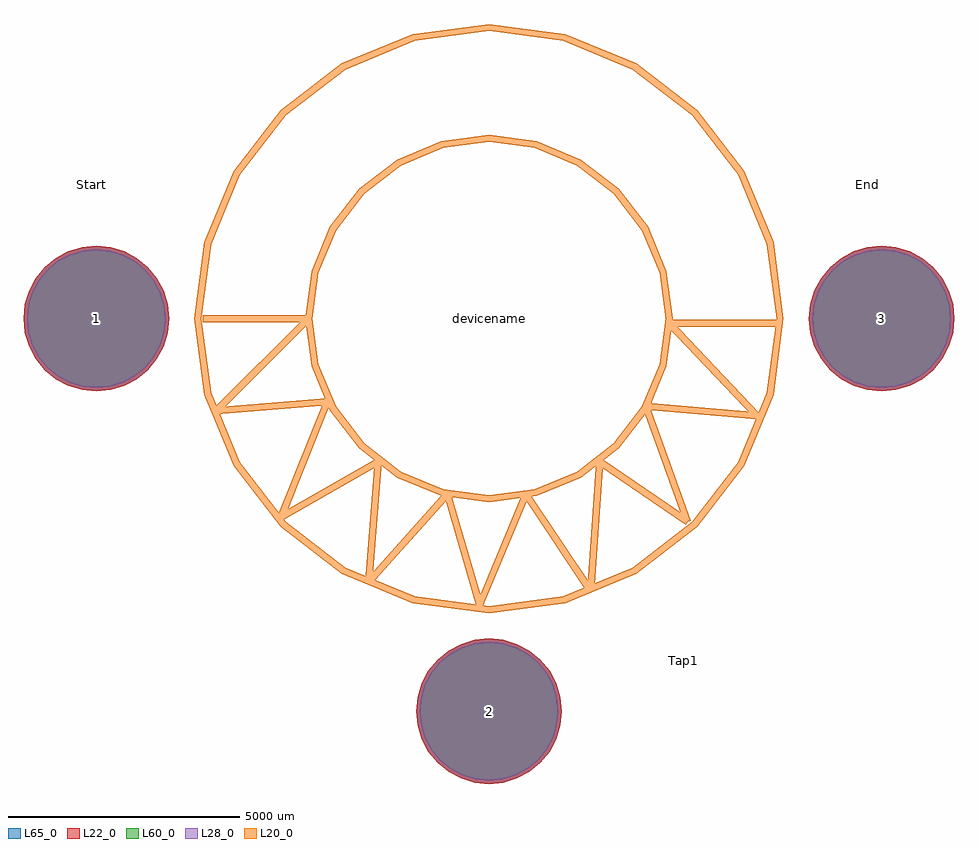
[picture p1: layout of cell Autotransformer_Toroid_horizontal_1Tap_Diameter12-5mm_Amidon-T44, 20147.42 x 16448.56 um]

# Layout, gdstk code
import gdstk
lib = gdstk.Library(unit=1e-6, precision=1e-09)
def P(c, l, *ps):  # polygons
    for p in ps: c.add(gdstk.Polygon(p, *l))
L20_0 = (20, 0)
L22_0 = (22, 0)
L28_0 = (28, 0)
L60_0 = (60, 0)
L65_0 = (65, 0)

autotransformer_toroid_h = lib.new_cell('Autotransformer_Toroid_horizontal_1Tap_Diameter12-5mm_Amidon-T44')
P(autotransformer_toroid_h, L22_0, [(1574.87,-8498.84),(1544.609,-8191.598),(1454.99,-7896.163),(1309.457,-7623.889),(1113.601,-7385.239),(874.951,-7189.383),(602.677,-7043.85),(307.242,-6954.231),(0,-6923.97),(-307.242,-6954.231),(-602.677,-7043.85),(-874.951,-7189.383),(-1113.601,-7385.239),(-1309.457,-7623.889),(-1454.99,-7896.163),(-1544.609,-8191.598),(-1574.87,-8498.84),(-1544.609,-8806.082),(-1454.99,-9101.517),(-1309.457,-9373.791),(-1113.601,-9612.441),(-874.951,-9808.297),(-602.677,-9953.83),(-307.242,-10043.449),(0,-10073.71),(307.242,-10043.449),(602.677,-9953.83),(874.951,-9808.297),(1113.601,-9612.441),(1309.457,-9373.791),(1454.99,-9101.517),(1544.609,-8806.082)],
  [(10073.71,0),(10043.449,307.242),(9953.83,602.677),(9808.297,874.951),(9612.441,1113.601),(9373.791,1309.457),(9101.517,1454.99),(8806.082,1544.609),(8498.84,1574.87),(8191.598,1544.609),(7896.163,1454.99),(7623.889,1309.457),(7385.239,1113.601),(7189.383,874.951),(7043.85,602.677),(6954.231,307.242),(6923.97,0),(6954.231,-307.242),(7043.85,-602.677),(7189.383,-874.951),(7385.239,-1113.601),(7623.889,-1309.457),(7896.163,-1454.99),(8191.598,-1544.609),(8498.84,-1574.87),(8806.082,-1544.609),(9101.517,-1454.99),(9373.791,-1309.457),(9612.441,-1113.601),(9808.297,-874.951),(9953.83,-602.677),(10043.449,-307.242)],
  [(-6923.97,0),(-6954.231,307.242),(-7043.85,602.677),(-7189.383,874.951),(-7385.239,1113.601),(-7623.889,1309.457),(-7896.163,1454.99),(-8191.598,1544.609),(-8498.84,1574.87),(-8806.082,1544.609),(-9101.517,1454.99),(-9373.791,1309.457),(-9612.441,1113.601),(-9808.297,874.951),(-9953.83,602.677),(-10043.449,307.242),(-10073.71,0),(-10043.449,-307.242),(-9953.83,-602.677),(-9808.297,-874.951),(-9612.441,-1113.601),(-9373.791,-1309.457),(-9101.517,-1454.99),(-8806.082,-1544.609),(-8498.84,-1574.87),(-8191.598,-1544.609),(-7896.163,-1454.99),(-7623.889,-1309.457),(-7385.239,-1113.601),(-7189.383,-874.951),(-7043.85,-602.677),(-6954.231,-307.242)])
P(autotransformer_toroid_h, L28_0, [(1499.87,-8498.84),(1471.05,-8206.23),(1385.699,-7924.865),(1247.096,-7665.557),(1060.568,-7438.272),(833.283,-7251.744),(573.975,-7113.141),(292.61,-7027.79),(0,-6998.97),(-292.61,-7027.79),(-573.975,-7113.141),(-833.283,-7251.744),(-1060.568,-7438.272),(-1247.096,-7665.557),(-1385.699,-7924.865),(-1471.05,-8206.23),(-1499.87,-8498.84),(-1471.05,-8791.45),(-1385.699,-9072.815),(-1247.096,-9332.123),(-1060.568,-9559.408),(-833.283,-9745.936),(-573.975,-9884.539),(-292.61,-9969.89),(0,-9998.71),(292.61,-9969.89),(573.975,-9884.539),(833.283,-9745.936),(1060.568,-9559.408),(1247.096,-9332.123),(1385.699,-9072.815),(1471.05,-8791.45)],
  [(9998.71,0),(9969.89,292.61),(9884.539,573.975),(9745.936,833.283),(9559.408,1060.568),(9332.123,1247.096),(9072.815,1385.699),(8791.45,1471.05),(8498.84,1499.87),(8206.23,1471.05),(7924.865,1385.699),(7665.557,1247.096),(7438.272,1060.568),(7251.744,833.283),(7113.141,573.975),(7027.79,292.61),(6998.97,0),(7027.79,-292.61),(7113.141,-573.975),(7251.744,-833.283),(7438.272,-1060.568),(7665.557,-1247.096),(7924.865,-1385.699),(8206.23,-1471.05),(8498.84,-1499.87),(8791.45,-1471.05),(9072.815,-1385.699),(9332.123,-1247.096),(9559.408,-1060.568),(9745.936,-833.283),(9884.539,-573.975),(9969.89,-292.61)],
  [(-6998.97,0),(-7027.79,292.61),(-7113.141,573.975),(-7251.744,833.283),(-7438.272,1060.568),(-7665.557,1247.096),(-7924.865,1385.699),(-8206.23,1471.05),(-8498.84,1499.87),(-8791.45,1471.05),(-9072.815,1385.699),(-9332.123,1247.096),(-9559.408,1060.568),(-9745.936,833.283),(-9884.539,573.975),(-9969.89,292.61),(-9998.71,0),(-9969.89,-292.61),(-9884.539,-573.975),(-9745.936,-833.283),(-9559.408,-1060.568),(-9332.123,-1247.096),(-9072.815,-1385.699),(-8791.45,-1471.05),(-8498.84,-1499.87),(-8206.23,-1471.05),(-7924.865,-1385.699),(-7665.557,-1247.096),(-7438.272,-1060.568),(-7251.744,-833.283),(-7113.141,-573.975),(-7027.79,-292.61)])
P(autotransformer_toroid_h, L60_0, [(1499.87,-8498.84),(1471.05,-8206.23),(1385.699,-7924.865),(1247.096,-7665.557),(1060.568,-7438.272),(833.283,-7251.744),(573.975,-7113.141),(292.61,-7027.79),(0,-6998.97),(-292.61,-7027.79),(-573.975,-7113.141),(-833.283,-7251.744),(-1060.568,-7438.272),(-1247.096,-7665.557),(-1385.699,-7924.865),(-1471.05,-8206.23),(-1499.87,-8498.84),(-1471.05,-8791.45),(-1385.699,-9072.815),(-1247.096,-9332.123),(-1060.568,-9559.408),(-833.283,-9745.936),(-573.975,-9884.539),(-292.61,-9969.89),(0,-9998.71),(292.61,-9969.89),(573.975,-9884.539),(833.283,-9745.936),(1060.568,-9559.408),(1247.096,-9332.123),(1385.699,-9072.815),(1471.05,-8791.45)],
  [(9998.71,0),(9969.89,292.61),(9884.539,573.975),(9745.936,833.283),(9559.408,1060.568),(9332.123,1247.096),(9072.815,1385.699),(8791.45,1471.05),(8498.84,1499.87),(8206.23,1471.05),(7924.865,1385.699),(7665.557,1247.096),(7438.272,1060.568),(7251.744,833.283),(7113.141,573.975),(7027.79,292.61),(6998.97,0),(7027.79,-292.61),(7113.141,-573.975),(7251.744,-833.283),(7438.272,-1060.568),(7665.557,-1247.096),(7924.865,-1385.699),(8206.23,-1471.05),(8498.84,-1499.87),(8791.45,-1471.05),(9072.815,-1385.699),(9332.123,-1247.096),(9559.408,-1060.568),(9745.936,-833.283),(9884.539,-573.975),(9969.89,-292.61)],
  [(-6998.97,0),(-7027.79,292.61),(-7113.141,573.975),(-7251.744,833.283),(-7438.272,1060.568),(-7665.557,1247.096),(-7924.865,1385.699),(-8206.23,1471.05),(-8498.84,1499.87),(-8791.45,1471.05),(-9072.815,1385.699),(-9332.123,1247.096),(-9559.408,1060.568),(-9745.936,833.283),(-9884.539,573.975),(-9969.89,292.61),(-9998.71,0),(-9969.89,-292.61),(-9884.539,-573.975),(-9745.936,-833.283),(-9559.408,-1060.568),(-9332.123,-1247.096),(-9072.815,-1385.699),(-8791.45,-1471.05),(-8498.84,-1499.87),(-8206.23,-1471.05),(-7924.865,-1385.699),(-7665.557,-1247.096),(-7438.272,-1060.568),(-7251.744,-833.283),(-7113.141,-573.975),(-7027.79,-292.61)])
P(autotransformer_toroid_h, L65_0, [(1574.87,-8498.84),(1544.609,-8191.598),(1454.99,-7896.163),(1309.457,-7623.889),(1113.601,-7385.239),(874.951,-7189.383),(602.677,-7043.85),(307.242,-6954.231),(0,-6923.97),(-307.242,-6954.231),(-602.677,-7043.85),(-874.951,-7189.383),(-1113.601,-7385.239),(-1309.457,-7623.889),(-1454.99,-7896.163),(-1544.609,-8191.598),(-1574.87,-8498.84),(-1544.609,-8806.082),(-1454.99,-9101.517),(-1309.457,-9373.791),(-1113.601,-9612.441),(-874.951,-9808.297),(-602.677,-9953.83),(-307.242,-10043.449),(0,-10073.71),(307.242,-10043.449),(602.677,-9953.83),(874.951,-9808.297),(1113.601,-9612.441),(1309.457,-9373.791),(1454.99,-9101.517),(1544.609,-8806.082)],
  [(10073.71,0),(10043.449,307.242),(9953.83,602.677),(9808.297,874.951),(9612.441,1113.601),(9373.791,1309.457),(9101.517,1454.99),(8806.082,1544.609),(8498.84,1574.87),(8191.598,1544.609),(7896.163,1454.99),(7623.889,1309.457),(7385.239,1113.601),(7189.383,874.951),(7043.85,602.677),(6954.231,307.242),(6923.97,0),(6954.231,-307.242),(7043.85,-602.677),(7189.383,-874.951),(7385.239,-1113.601),(7623.889,-1309.457),(7896.163,-1454.99),(8191.598,-1544.609),(8498.84,-1574.87),(8806.082,-1544.609),(9101.517,-1454.99),(9373.791,-1309.457),(9612.441,-1113.601),(9808.297,-874.951),(9953.83,-602.677),(10043.449,-307.242)],
  [(-6923.97,0),(-6954.231,307.242),(-7043.85,602.677),(-7189.383,874.951),(-7385.239,1113.601),(-7623.889,1309.457),(-7896.163,1454.99),(-8191.598,1544.609),(-8498.84,1574.87),(-8806.082,1544.609),(-9101.517,1454.99),(-9373.791,1309.457),(-9612.441,1113.601),(-9808.297,874.951),(-9953.83,602.677),(-10043.449,307.242),(-10073.71,0),(-10043.449,-307.242),(-9953.83,-602.677),(-9808.297,-874.951),(-9612.441,-1113.601),(-9373.791,-1309.457),(-9101.517,-1454.99),(-8806.082,-1544.609),(-8498.84,-1574.87),(-8191.598,-1544.609),(-7896.163,-1454.99),(-7623.889,-1309.457),(-7385.239,-1113.601),(-7189.383,-874.951),(-7043.85,-602.677),(-6954.231,-307.242)])
autotransformer_toroid_h.add(gdstk.FlexPath([(6299.2,0),(6084.56,1630.353),(5455.267,3149.6),(4454.207,4454.207),(3149.6,5455.267),(1630.353,6084.56),(0,6299.2),(-1630.353,6084.56),(-3149.6,5455.267),(-4454.207,4454.207),(-5455.267,3149.6),(-6084.56,1630.353),(-6299.2,0),(-6084.56,-1630.353),(-5455.267,-3149.6),(-4454.207,-4454.207),(-3149.6,-5455.267),(-1630.353,-6084.56),(0,-6299.2),(1630.353,-6084.56),(3149.6,-5455.267),(4454.207,-4454.207),(5455.267,-3149.6),(6084.56,-1630.353),(6299.2,0)], 149.998, ends="flush", simple_path=True, layer=20, datatype=0))  # L20_0
autotransformer_toroid_h.add(gdstk.FlexPath([(3898.9,0),(3766.048,1009.11),(3376.546,1949.45),(2756.939,2756.939),(1949.45,3376.546),(1009.11,3766.048),(0,3898.9),(-1009.11,3766.048),(-1949.45,3376.546),(-2756.939,2756.939),(-3376.546,1949.45),(-3766.048,1009.11),(-3898.9,0),(-3766.048,-1009.11),(-3376.546,-1949.45),(-2756.939,-2756.939),(-1949.45,-3376.546),(-1009.11,-3766.048),(0,-3898.9),(1009.11,-3766.048),(1949.45,-3376.546),(2756.939,-2756.939),(3376.546,-1949.45),(3766.048,-1009.11),(3898.9,0)], 149.998, ends="flush", simple_path=True, layer=20, datatype=0))  # L20_0
autotransformer_toroid_h.add(gdstk.FlexPath([(3898.9,-99.06),(6299.2,-99.06)], 149.998, ends="flush", simple_path=True, layer=20, datatype=0))  # L20_0
autotransformer_toroid_h.add(gdstk.FlexPath([(5798.82,-2100.58),(3898.9,-99.06)], 149.998, ends="flush", simple_path=True, layer=20, datatype=0))  # L20_0
autotransformer_toroid_h.add(gdstk.FlexPath([(3401.06,-1899.92),(5798.82,-2100.58)], 149.998, ends="flush", simple_path=True, layer=20, datatype=0))  # L20_0
autotransformer_toroid_h.add(gdstk.FlexPath([(4300.22,-4399.28),(3401.06,-1899.92)], 149.998, ends="flush", simple_path=True, layer=20, datatype=0))  # L20_0
autotransformer_toroid_h.add(gdstk.FlexPath([(2400.3,-3098.8),(4300.22,-4399.28)], 149.998, ends="flush", simple_path=True, layer=20, datatype=0))  # L20_0
autotransformer_toroid_h.add(gdstk.FlexPath([(2199.64,-5900.42),(2400.3,-3098.8)], 149.998, ends="flush", simple_path=True, layer=20, datatype=0))  # L20_0
autotransformer_toroid_h.add(gdstk.FlexPath([(800.1,-3799.84),(2199.64,-5900.42)], 149.998, ends="flush", simple_path=True, layer=20, datatype=0))  # L20_0
autotransformer_toroid_h.add(gdstk.FlexPath([(-200.66,-6200.14),(800.1,-3799.84)], 149.998, ends="flush", simple_path=True, layer=20, datatype=0))  # L20_0
autotransformer_toroid_h.add(gdstk.FlexPath([(-899.16,-3799.84),(-200.66,-6200.14)], 149.998, ends="flush", simple_path=True, layer=20, datatype=0))  # L20_0
autotransformer_toroid_h.add(gdstk.FlexPath([(-2600.96,-5699.76),(-899.16,-3799.84)], 149.998, ends="flush", simple_path=True, layer=20, datatype=0))  # L20_0
autotransformer_toroid_h.add(gdstk.FlexPath([(-2400.3,-3098.8),(-2600.96,-5699.76)], 149.998, ends="flush", simple_path=True, layer=20, datatype=0))  # L20_0
autotransformer_toroid_h.add(gdstk.FlexPath([(-4500.88,-4300.22),(-2400.3,-3098.8)], 149.998, ends="flush", simple_path=True, layer=20, datatype=0))  # L20_0
autotransformer_toroid_h.add(gdstk.FlexPath([(-3500.12,-1800.86),(-4500.88,-4300.22)], 149.998, ends="flush", simple_path=True, layer=20, datatype=0))  # L20_0
autotransformer_toroid_h.add(gdstk.FlexPath([(-5900.42,-1998.98),(-3500.12,-1800.86)], 149.998, ends="flush", simple_path=True, layer=20, datatype=0))  # L20_0
autotransformer_toroid_h.add(gdstk.FlexPath([(-3898.9,0),(-5900.42,-1998.98)], 149.998, ends="flush", simple_path=True, layer=20, datatype=0))  # L20_0
autotransformer_toroid_h.add(gdstk.FlexPath([(-6200.14,0),(-3898.9,0)], 149.998, ends="flush", simple_path=True, layer=20, datatype=0))  # L20_0
autotransformer_toroid_h.add(gdstk.Label('2', (0,-8498.84), layer=28, texttype=0))
autotransformer_toroid_h.add(gdstk.Label('3', (8498.84,0), layer=28, texttype=0))
autotransformer_toroid_h.add(gdstk.Label('1', (-8498.84,0), layer=28, texttype=0))
autotransformer_toroid_h.add(gdstk.Label('Start', (-8600.44,2900.68), layer=9, texttype=0))
autotransformer_toroid_h.add(gdstk.Label('End', (8199.12,2900.68), layer=9, texttype=0))
autotransformer_toroid_h.add(gdstk.Label('Tap1', (4201.16,-7399.02), layer=9, texttype=0))
autotransformer_toroid_h.add(gdstk.Label('type', (0,-13970), layer=9, texttype=0))
autotransformer_toroid_h.add(gdstk.Label('devicename', (0,0), layer=9, texttype=0))

lib.write_gds('Autotransformer_Toroid_horizontal_1Tap_Diameter12-5mm_Amidon-T44.gds')
